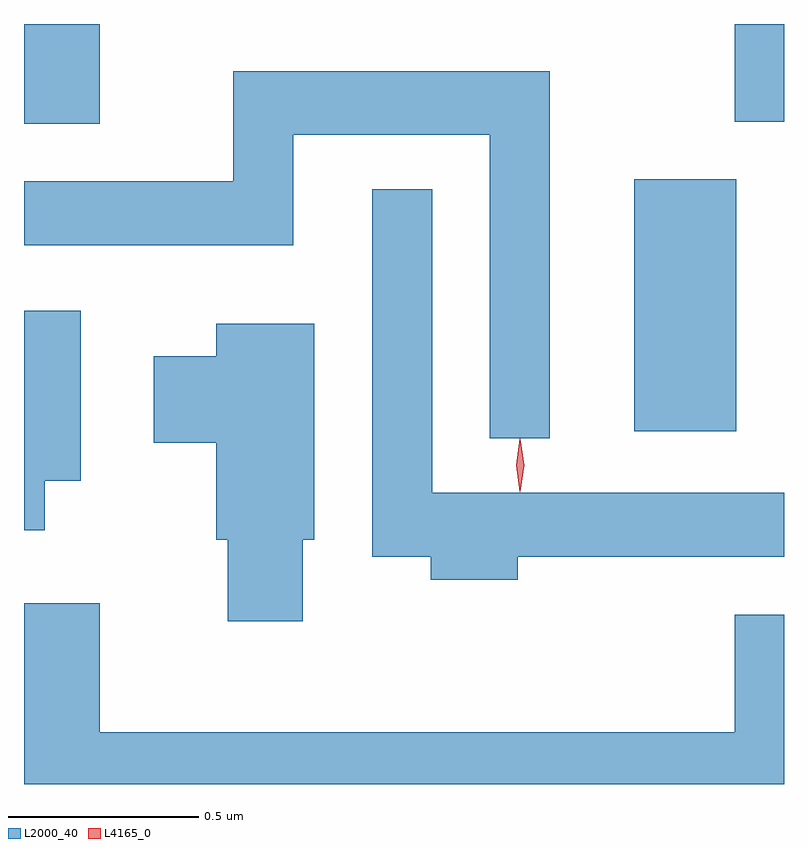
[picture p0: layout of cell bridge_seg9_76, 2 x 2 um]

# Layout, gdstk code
import gdstk
lib = gdstk.Library(unit=1e-6, precision=1e-09)
def R(c, l, rs):  # rectangles x0, y0, x1, y1
    for r in rs: c.add(gdstk.rectangle(r[:2], r[2:], *l))
def P(c, l, *ps):  # polygons
    for p in ps: c.add(gdstk.Polygon(p, *l))
L2000_40 = (2000, 40)
L4165_0 = (4165, 0)

bridge_seg9_76 = lib.new_cell('bridge_seg9_76')
R(bridge_seg9_76, L2000_40, [(1501.746,1961.796,1502.014,1962.459), (1500.14,1962.606,1500.339,1962.868), (1502.011,1962.611,1502.14,1962.868)])
P(bridge_seg9_76, L2000_40, [(1501.524,1962.744),(1500.691,1962.744),(1500.691,1962.454),(1500.14,1962.454),(1500.14,1962.286),(1500.849,1962.286),(1500.849,1962.576),(1501.366,1962.576),(1501.366,1961.778),(1501.524,1961.778)],
  [(1501.439,1961.466),(1502.14,1961.466),(1502.14,1961.634),(1501.214,1961.634),(1501.214,1962.433),(1501.056,1962.433),(1501.056,1961.466),(1501.211,1961.466),(1501.211,1961.406),(1501.439,1961.406)],
  [(1500.194,1961.666),(1500.289,1961.666),(1500.289,1962.114),(1500.14,1962.114),(1500.14,1961.536),(1500.194,1961.536)],
  [(1500.874,1961.511),(1500.904,1961.511),(1500.904,1962.079),(1500.646,1962.079),(1500.646,1961.994),(1500.481,1961.994),(1500.481,1961.766),(1500.646,1961.766),(1500.646,1961.511),(1500.676,1961.511),(1500.676,1961.296),(1500.874,1961.296)],
  [(1502.14,1961.314),(1502.011,1961.314),(1502.011,1961.004),(1500.339,1961.004),(1500.339,1961.344),(1500.14,1961.344),(1500.14,1960.868),(1502.14,1960.868)])
P(bridge_seg9_76, L4165_0, [(1501.445,1961.637),(1501.436,1961.707),(1501.445,1961.776),(1501.446,1961.776),(1501.446,1961.776),(1501.456,1961.707),(1501.446,1961.637),(1501.446,1961.637)])

lib.write_gds('bridge_seg9_76.gds')
